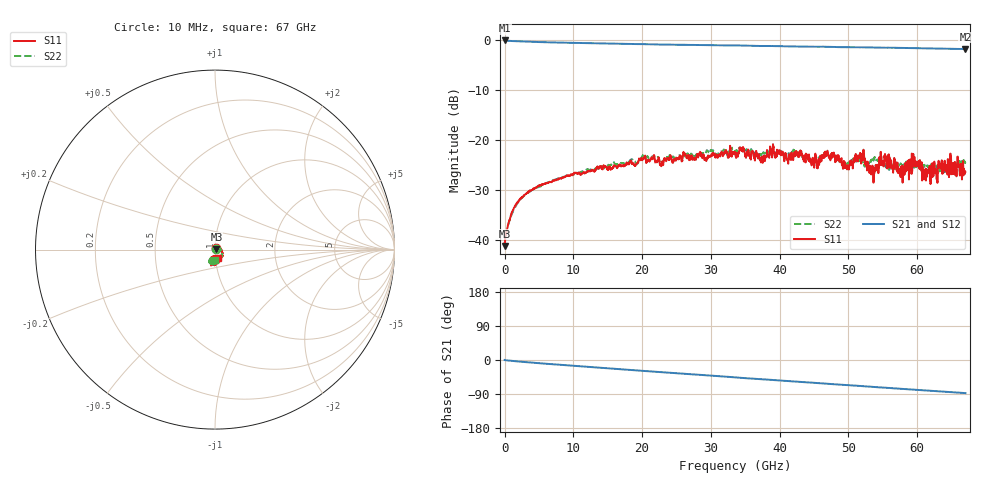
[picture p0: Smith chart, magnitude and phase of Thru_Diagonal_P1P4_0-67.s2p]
!Keysight Technologies,N5247B,MY61256062,A.16.20.04
!Date: Saturday, November 29, 2025 08:05:22
!Correction: S11(C  2-Port  )
!S21(C  2-Port  )
!S12(C  2-Port  )
!S22(C  2-Port  )
!S2P File: Measurements: S11, S21, S12, S22:
# Hz S  dB  R 50
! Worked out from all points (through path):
!   1601 points, 10 MHz to 67 GHz, reference 50 ohm
!   highest |S21| = -0.06 dB at 10 MHz (marker M1); lowest = -1.8 dB at 67 GHz (marker M2)
!   group delay of S21, straight-line fit = 3.56 ps
!   lowest |S11| = -41.2 dB at 51.87 MHz (marker M3), VSWR 1.02, Z = 50.8 + j0.362 ohm
!   |S11| at or under -10 dB: start of sweep to end of sweep
!   |S22| runs from -41.2 to -21.5 dB; largest |S21 - S12| = 0.0084
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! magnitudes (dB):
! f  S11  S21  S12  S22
! 10 MHz  -40.6  -0.1  -0.1  -41.2
! 51.87 MHz  -41.2  -0.1  -0.1  -40.4
! 1.266 GHz  -33.9  -0.2  -0.2  -34.1
! 2.857 GHz  -31.1  -0.3  -0.3  -31.2
! 11.19 GHz  -26.8  -0.6  -0.6  -26.3
! 20.19 GHz  -23.8  -0.8  -0.8  -23.1
! 22.37 GHz  -23.9  -0.9  -0.9  -23.5
! 33.51 GHz  -22.7  -1.1  -1.1  -22.2
! 34.51 GHz  -22.2  -1.1  -1.1  -21.9
! 37.52 GHz  -24.5  -1.2  -1.2  -22.6
! 38.91 GHz  -23.5  -1.2  -1.2  -22.0
! 44.68 GHz  -24.2  -1.3  -1.3  -24.0
! 46.82 GHz  -22.9  -1.3  -1.3  -23.0
! 49.83 GHz  -25.4  -1.4  -1.4  -24.7
! 51.93 GHz  -23.9  -1.4  -1.4  -24.4
! 53.56 GHz  -25.7  -1.5  -1.5  -24.2
! 55.86 GHz  -22.8  -1.5  -1.5  -25.9
! 57.54 GHz  -26.7  -1.5  -1.5  -24.8
! 59.67 GHz  -24.2  -1.6  -1.6  -24.9
! 61.05 GHz  -27.2  -1.6  -1.6  -25.1
! 63.32 GHz  -25.6  -1.7  -1.7  -26.4
! 67 GHz  -26.4  -1.8  -1.8  -24.4
